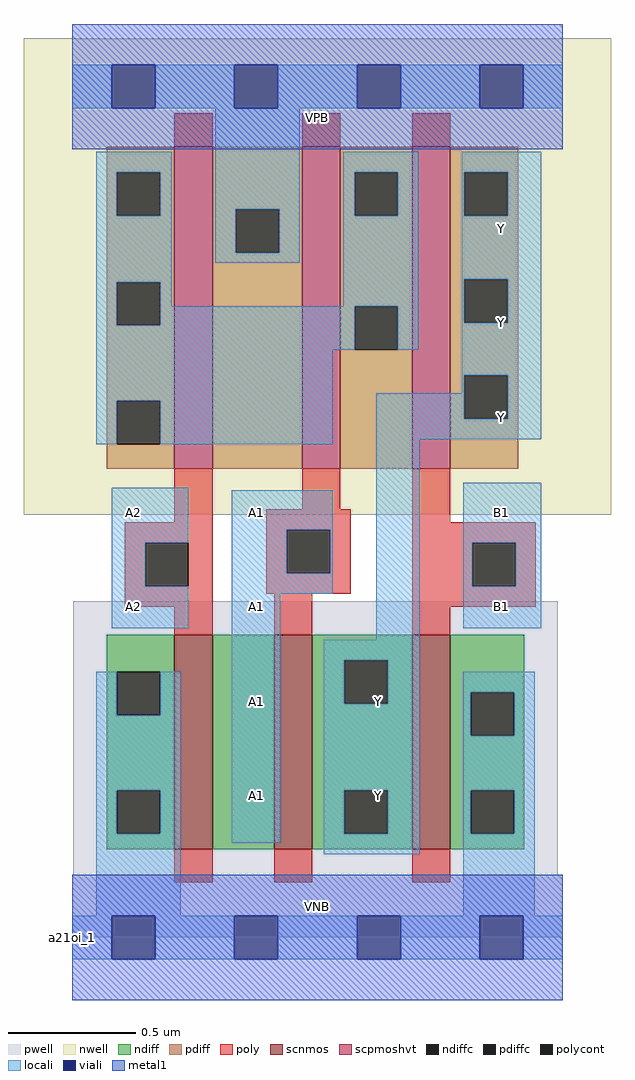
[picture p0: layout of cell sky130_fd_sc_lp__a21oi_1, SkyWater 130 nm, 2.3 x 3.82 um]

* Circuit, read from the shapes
.subckt sky130_fd_sc_lp__a21oi_1 A1 A2 B1 VGND VNB VPB VPWR Y
XM1 n1 A2 VGND VNB sky130_fd_pr__nfet_01v8 w=0.84 l=0.15
XM2 Y A1 n1 VNB sky130_fd_pr__nfet_01v8 w=0.84 l=0.15
XM3 VGND B1 Y VNB sky130_fd_pr__nfet_01v8 w=0.84 l=0.15
XM4 VPWR A2 n2 VPB sky130_fd_pr__pfet_01v8_hvt w=1.26 l=0.15
XM5 n2 A1 VPWR VPB sky130_fd_pr__pfet_01v8_hvt w=1.26 l=0.15
XM6 Y B1 n2 VPB sky130_fd_pr__pfet_01v8_hvt w=1.26 l=0.15
.ends

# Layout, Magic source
magic
tech sky130A
magscale 1 2
<< nwell >>
rect -38 331 422 704
<< pwell >>
rect 1 49 380 263
rect 0 0 384 49
<< scnmos >>
rect 80 69 110 237
rect 158 69 188 237
rect 266 69 296 237
<< scpmoshvt >>
rect 80 367 110 619
rect 180 367 210 619
rect 266 367 296 619
<< ndiff >>
rect 27 208 80 237
rect 27 174 35 208
rect 69 174 80 208
rect 27 115 80 174
rect 27 81 35 115
rect 69 81 80 115
rect 27 69 80 81
rect 110 69 158 237
rect 188 217 266 237
rect 188 183 213 217
rect 247 183 266 217
rect 188 115 266 183
rect 188 81 213 115
rect 247 81 266 115
rect 188 69 266 81
rect 296 192 354 237
rect 296 158 312 192
rect 346 158 354 192
rect 296 115 354 158
rect 296 81 312 115
rect 346 81 354 115
rect 296 69 354 81
<< pdiff >>
rect 27 599 80 619
rect 27 565 35 599
rect 69 565 80 599
rect 27 513 80 565
rect 27 479 35 513
rect 69 479 80 513
rect 27 420 80 479
rect 27 386 35 420
rect 69 386 80 420
rect 27 367 80 386
rect 110 570 180 619
rect 110 536 128 570
rect 162 536 180 570
rect 110 367 180 536
rect 210 599 266 619
rect 210 565 221 599
rect 255 565 266 599
rect 210 494 266 565
rect 210 460 221 494
rect 255 460 266 494
rect 210 367 266 460
rect 296 599 349 619
rect 296 565 307 599
rect 341 565 349 599
rect 296 515 349 565
rect 296 481 307 515
rect 341 481 349 515
rect 296 440 349 481
rect 296 406 307 440
rect 341 406 349 440
rect 296 367 349 406
<< ndiffc >>
rect 35 174 69 208
rect 35 81 69 115
rect 213 183 247 217
rect 213 81 247 115
rect 312 158 346 192
rect 312 81 346 115
<< pdiffc >>
rect 35 565 69 599
rect 35 479 69 513
rect 35 386 69 420
rect 128 536 162 570
rect 221 565 255 599
rect 221 460 255 494
rect 307 565 341 599
rect 307 481 341 515
rect 307 406 341 440
<< poly >>
rect 80 619 110 645
rect 180 619 210 645
rect 266 619 296 645
rect 80 325 110 367
rect 180 335 210 367
rect 41 309 110 325
rect 41 275 57 309
rect 91 275 110 309
rect 41 259 110 275
rect 152 319 218 335
rect 152 285 168 319
rect 202 285 218 319
rect 152 269 218 285
rect 266 325 296 367
rect 266 309 363 325
rect 266 275 313 309
rect 347 275 363 309
rect 80 237 110 259
rect 158 237 188 269
rect 266 259 363 275
rect 266 237 296 259
rect 80 43 110 69
rect 158 43 188 69
rect 266 43 296 69
<< polycont >>
rect 57 275 91 309
rect 168 285 202 319
rect 313 275 347 309
<< locali >>
rect 0 649 31 683
rect 65 649 127 683
rect 161 649 223 683
rect 257 649 319 683
rect 353 649 384 683
rect 19 599 78 615
rect 19 565 35 599
rect 69 565 78 599
rect 19 513 78 565
rect 112 570 178 649
rect 112 536 128 570
rect 162 536 178 570
rect 112 528 178 536
rect 212 599 271 615
rect 212 565 221 599
rect 255 565 271 599
rect 19 479 35 513
rect 69 494 78 513
rect 212 494 271 565
rect 69 479 221 494
rect 19 460 221 479
rect 255 460 271 494
rect 305 599 367 615
rect 305 565 307 599
rect 341 565 367 599
rect 305 515 367 565
rect 305 481 307 515
rect 341 481 367 515
rect 19 420 204 460
rect 305 440 367 481
rect 305 426 307 440
rect 19 386 35 420
rect 69 386 204 420
rect 238 406 307 426
rect 341 406 367 440
rect 238 390 367 406
rect 31 309 91 352
rect 31 275 57 309
rect 31 242 91 275
rect 125 319 204 350
rect 125 285 168 319
rect 202 285 204 319
rect 125 269 204 285
rect 19 174 35 208
rect 69 174 85 208
rect 19 115 85 174
rect 19 81 35 115
rect 69 81 85 115
rect 19 17 85 81
rect 125 74 163 269
rect 238 233 272 390
rect 306 309 367 356
rect 306 275 313 309
rect 347 275 367 309
rect 306 242 367 275
rect 197 217 272 233
rect 197 183 213 217
rect 247 183 272 217
rect 197 115 272 183
rect 197 81 213 115
rect 247 81 272 115
rect 197 65 272 81
rect 306 192 362 208
rect 306 158 312 192
rect 346 158 362 192
rect 306 115 362 158
rect 306 81 312 115
rect 346 81 362 115
rect 306 17 362 81
rect 0 -17 31 17
rect 65 -17 127 17
rect 161 -17 223 17
rect 257 -17 319 17
rect 353 -17 384 17
<< viali >>
rect 31 649 65 683
rect 127 649 161 683
rect 223 649 257 683
rect 319 649 353 683
rect 31 -17 65 17
rect 127 -17 161 17
rect 223 -17 257 17
rect 319 -17 353 17
<< metal1 >>
rect 0 683 384 715
rect 0 649 31 683
rect 65 649 127 683
rect 161 649 223 683
rect 257 649 319 683
rect 353 649 384 683
rect 0 617 384 649
rect 0 17 384 49
rect 0 -17 31 17
rect 65 -17 127 17
rect 161 -17 223 17
rect 257 -17 319 17
rect 353 -17 384 17
rect 0 -49 384 -17
<< labels >>
flabel pwell s 0 0 384 49 0 FreeSans 200 0 0 0 VNB
port 5 nsew ground bidirectional
flabel nwell s 0 617 384 666 0 FreeSans 200 0 0 0 VPB
port 6 nsew power bidirectional
rlabel comment s 0 0 0 0 4 a21oi_1
flabel metal1 s 0 617 384 666 0 FreeSans 340 0 0 0 VPWR
port 7 nsew power bidirectional
flabel metal1 s 0 0 384 49 0 FreeSans 340 0 0 0 VGND
port 4 nsew ground bidirectional
flabel locali s 319 390 353 424 0 FreeSans 340 0 0 0 Y
port 8 nsew signal output
flabel locali s 31 242 65 276 0 FreeSans 340 0 0 0 A2
port 2 nsew signal input
flabel locali s 31 316 65 350 0 FreeSans 340 0 0 0 A2
port 2 nsew signal input
flabel locali s 319 242 353 276 0 FreeSans 340 0 0 0 B1
port 3 nsew signal input
flabel locali s 319 316 353 350 0 FreeSans 340 0 0 0 B1
port 3 nsew signal input
flabel locali s 127 94 161 128 0 FreeSans 340 0 0 0 A1
port 1 nsew signal input
flabel locali s 127 168 161 202 0 FreeSans 340 0 0 0 A1
port 1 nsew signal input
flabel locali s 127 242 161 276 0 FreeSans 340 0 0 0 A1
port 1 nsew signal input
flabel locali s 127 316 161 350 0 FreeSans 340 0 0 0 A1
port 1 nsew signal input
flabel locali s 223 94 257 128 0 FreeSans 340 0 0 0 Y
port 8 nsew signal output
flabel locali s 223 168 257 202 0 FreeSans 340 0 0 0 Y
port 8 nsew signal output
flabel locali s 319 538 353 572 0 FreeSans 340 0 0 0 Y
port 8 nsew signal output
flabel locali s 319 464 353 498 0 FreeSans 340 0 0 0 Y
port 8 nsew signal output
<< properties >>
string LEFsite unit
string LEFclass CORE
string FIXED_BBOX 0 0 384 666
string GDS_FILE $PDKPATH/libs.ref/sky130_fd_sc_lp/gds/sky130_fd_sc_lp.gds
string LEFsymmetry X Y R90
string GDS_END 3683588
string GDS_START 3677984
<< end >>
